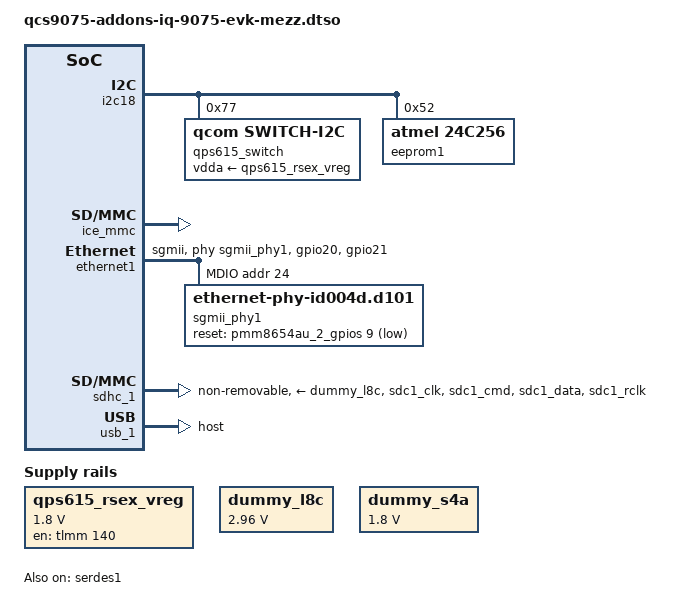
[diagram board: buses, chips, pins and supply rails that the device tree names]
// SPDX-License-Identifier: BSD-3-Clause
/*
 * Copyright (c) 2025 Qualcomm Innovation Center, Inc. All rights reserved.
 * Copyright (c) Qualcomm Technologies, Inc. and/or its subsidiaries.
 */

/dts-v1/;
/plugin/;

#include <dt-bindings/gpio/gpio.h>
#include <dt-bindings/interrupt-controller/irq.h>

&{/} {
	model = "Qualcomm Technologies, Inc. IQ-9075-evk Addons Mezzanine";
	qcom,board-id = <0x00010020 1>, <0x00010019 1>;

	qps615_rsex_vreg: qps615-rsex-vreg {
	        compatible = "regulator-fixed";
	        regulator-name = "qps615_rsex_vreg";
	        gpio = <&tlmm 140 GPIO_ACTIVE_HIGH>;
	        regulator-min-microvolt = <1800000>;
	        regulator-max-microvolt = <1800000>;
	        enable-active-high;
	        regulator-enable-ramp-delay = <10000>;
	};

	dummy_l8c: dummy-l8c {
		compatible = "regulator-fixed";
		regulator-name = "dummy-l8c";

		regulator-min-microvolt = <2960000>;
		regulator-max-microvolt = <2960000>;
	};

	dummy_s4a: dummy-s4a {
		compatible = "regulator-fixed";
		regulator-name = "dummy-s4a";

		regulator-min-microvolt = <1800000>;
		regulator-max-microvolt = <1800000>;
	};
};

&connector_usb1 {
	status = "disabled";
};

&i2c18 {
    qps615_switch: pcie-switch@77 {
        compatible = "qcom,switch-i2c";
        reg = <0x77>;
        vdda-supply = <&qps615_rsex_vreg>;

        status = "okay";
	};

	eeprom1: eeprom@52 {
		compatible = "atmel,24c256";
		reg = <0x52>;
		pagesize = <64>;
		#address-cells = <1>;
		#size-cells = <1>;

		nvmem-layout {
			compatible = "fixed-layout";
			#address-cells = <1>;
			#size-cells = <1>;

			mac_addr1: mac-addr@0 {
				reg = <0x0 0x6>;
			};

			mac_addr2: mac-addr@6 {
				reg = <0x6 0x6>;
			};

			mac_addr3: mac-addr@c {
				reg = <0xc 0x6>;
			};
		};
	};
};

&ice_mmc {
	status = "okay";
};

&pcie0 {
	dummy-supply = <&qps615_switch>;
	iommu-map = <0x0 &apps_smmu 0x0000 0x1>,
		<0x100 &pcie_smmu 0x0001 0x1>,
		<0x208 &pcie_smmu 0x0002 0x1>,
		<0x210 &pcie_smmu 0x0003 0x1>,
		<0x218 &pcie_smmu 0x0004 0x1>,
		<0x300 &pcie_smmu 0x0005 0x1>,
		<0x400 &pcie_smmu 0x0006 0x1>,
		<0x500 &pcie_smmu 0x0007 0x1>,
		<0x501 &pcie_smmu 0x0008 0x1>;

	pcieport0: pcie@0 {
		device_type = "pci";
		reg = <0x0 0x0 0x0 0x0 0x0>;
		#address-cells = <5>;
		#size-cells = <0>;

		wake-gpios = <&tlmm 0 GPIO_ACTIVE_HIGH>;

		/* BDF 1.0.0 */
		pcie0_bus1_dev0_fn0: pcie0_bus1_dev0_fn0 {
			reg = <0 0 0 0 0>;

			/* BDF 2.1.0 */
			pcie0_bus2_dev1_fn0: pcie0_bus2_dev1_fn0 {
				reg = <0x800 0x0 0x0 0x0 0x0>;

				/* BDF 3.0.0 */
				pcie0_bus3_dev0_fn0: pcie0_bus3_dev0_fn0 {
					reg = <0x0 0x0 0x0 0x0 0x0>;
				};
			};

			/* BDF 2.2.0 */
			pcie0_bus2_dev2_fn0: pcie0_bus2_dev2_fn0 {
				reg = <0x1000 0x0 0x0 0x0 0x0>;

				/* BDF 4.0.0 */
				pcie0_bus4_dev0_fn0: pcie0_bus4_dev0_fn0 {
					reg = <0x0 0x0 0x0 0x0 0x0>;
				};
			};

			/* BDF 2.3.0 */
			pcie0_bus2_dev3_fn0: pcie0_bus2_dev3_fn0 {
				reg = <0x1800 0x0 0x0 0x0 0x0>;
				qps615_eth0,qps615_eth0@pcie0_rp {
					reg = <0x0 0x0 0x0 0x0 0x0>;
				};

				/* BDF 5.0.0 */
				pcie0_bus5_dev0_fn0: pcie0_qps_eth0 {
					reg = <0x0 0x0 0x0 0x0 0x0>;
					nvmem-cells = <&mac_addr2>;
					nvmem-cell-names = "mac-address";
					pinctrl-names = "default";
					pinctrl-0 = <&aqr_intn_wol_sig>;
					phy-rst-som-gpios = <&tlmm 28 GPIO_ACTIVE_HIGH>;
					interrupts-extended = <&tlmm 56 IRQ_TYPE_EDGE_FALLING>;
					interrupt-names = "wol_irq";
					qcom,always-on-supply;
					qcom,phy-rst-delay-us = <221000>;
					#address-cells = <1>;
					#size-cells = <1>;

					qcom,iommu-group = <&eth0_pci_iommu_group>;
					eth0_pci_iommu_group: eth0_pci_iommu_group {
						qcom,iommu-dma = "atomic";
					};
				};

				qps615_eth1,qps615_eth1@pcie0_rp {
					reg = <0x100 0x0 0x0 0x0 0x0>;
				};

				/* BDF 5.0.1 */
				pcie0_bus5_dev0_fn1: pcie0_qps_eth1 {
					reg = <0x100 0x0 0x0 0x0 0x0>;
					nvmem-cells = <&mac_addr3>;
					nvmem-cell-names = "mac-address";
					pinctrl-names = "default";
					pinctrl-0 = <&napa_intn_wol_sig>;
					phy-rst-som-gpios = <&pmm8654au_3_gpios 8 GPIO_ACTIVE_HIGH>;
					interrupts-extended = <&tlmm 57 IRQ_TYPE_EDGE_FALLING>;
					interrupt-names = "wol_irq";
					qcom,always-on-supply;
					qcom,phy-rst-delay-us = <20000>;
					#address-cells = <1>;
					#size-cells = <1>;

					qcom,iommu-group = <&eth1_pci_iommu_group>;
					eth1_pci_iommu_group: eth1_pci_iommu_group {
						qcom,iommu-dma = "atomic";
					};
				};
			};
		};
	};
};

&ethernet1 {
	phy-handle = <&sgmii_phy1>;
	phy-mode = "sgmii";

	pinctrl-0 = <&ethernet1_default>;
	pinctrl-names = "default";

	snps,mtl-rx-config = <&mtl_rx_setup1>;
	snps,mtl-tx-config = <&mtl_tx_setup1>;
	snps,ps-speed = <1000>;
	nvmem-cells = <&mac_addr1>;
	nvmem-cell-names = "mac-address";

	status = "okay";

	mdio1 {
		compatible = "snps,dwmac-mdio";
		#address-cells = <1>;
		#size-cells = <0>;

		sgmii_phy1: phy@18 {
			compatible = "ethernet-phy-id004d.d101";
			reg = <0x18>;
			device_type = "ethernet-phy";
			reset-gpios = <&pmm8654au_2_gpios 9 GPIO_ACTIVE_LOW>;
			reset-assert-us = <11000>;
			reset-deassert-us = <70000>;
		};
	};

	mtl_rx_setup1: rx-queues-config {
		snps,rx-queues-to-use = <4>;
		snps,rx-sched-sp;

		queue0 {
			snps,dcb-algorithm;
			snps,map-to-dma-channel = <0x0>;
			snps,route-up;
			snps,priority = <0x1>;
		};

		queue1 {
			snps,dcb-algorithm;
			snps,map-to-dma-channel = <0x1>;
			snps,route-ptp;
		};

		queue2 {
			snps,avb-algorithm;
			snps,map-to-dma-channel = <0x2>;
			snps,route-avcp;
		};

		queue3 {
			snps,avb-algorithm;
			snps,map-to-dma-channel = <0x3>;
			snps,priority = <0xc>;
		};
	};

	mtl_tx_setup1: tx-queues-config {
		snps,tx-queues-to-use = <4>;
		snps,tx-sched-sp;

		queue0 {
			snps,dcb-algorithm;
		};

		queue1 {
			snps,dcb-algorithm;
		};

		queue2 {
			snps,avb-algorithm;
			snps,send_slope = <0x1000>;
			snps,idle_slope = <0x1000>;
			snps,high_credit = <0x3e800>;
			snps,low_credit = <0xffc18000>;
		};

		queue3 {
			snps,avb-algorithm;
			snps,send_slope = <0x1000>;
			snps,idle_slope = <0x1000>;
			snps,high_credit = <0x3e800>;
			snps,low_credit = <0xffc18000>;
		};
	};
};

&sdhc_1 {
	vmmc-supply = <&dummy_l8c>;
	vqmmc-supply = <&dummy_s4a>;

	no-sd;
	no-sdio;

	non-removable;

	pinctrl-names = "default", "sleep";
	pinctrl-0 = <&sdc1_clk>, <&sdc1_cmd>, <&sdc1_data>, <&sdc1_rclk>;
	pinctrl-1 = <&sdc1_clk_sleep>, <&sdc1_cmd_sleep>, <&sdc1_data_sleep>, <&sdc1_rclk_sleep>;
	status = "okay";
};

&sdhc_2 {
	status = "disabled";
};

&serdes1 {
	phy-supply = <&vreg_l5a>;
	status = "okay";
};

&tlmm {
	ethernet1_default: ethernet1-default-state {
		ethernet1_mdc: ethernet1-mdc-pins {
			pins = "gpio20";
			function = "emac1_mdc";
			drive-strength = <16>;
			bias-pull-up;
		};

		ethernet1_mdio: ethernet1-mdio-pins {
			pins = "gpio21";
			function = "emac1_mdio";
			drive-strength = <16>;
			bias-pull-up;
		};
	};

	qps615_intn_wol {
		aqr_intn_wol_sig: aqr-intn-wol-sig {
				pins = "gpio56";
				function = "gpio";
				input-enable;
				bias-disable;
		};

		napa_intn_wol_sig: napa-intn-wol-sig {
				pins = "gpio57";
				function = "gpio";
				input-enable;
				bias-disable;
		};
	};

	sdc1_clk: sdc1-clk-state {
		pins = "sdc1_clk";
		bias-disable;
		drive-strength = <16>;
	};

	sdc1_cmd: sdc1-cmd-state {
		pins = "sdc1_cmd";
		bias-pull-up;
		drive-strength = <10>;
	};

	sdc1_data: sdc1-data-state {
		pins = "sdc1_data";
		bias-pull-up;
		drive-strength = <10>;
	};

	sdc1_rclk: sdc1-rclk-state {
		pins = "sdc1_rclk";
		bias-pull-down;
	};

	sdc1_clk_sleep: sdc1-clk-sleep-state {
		pins = "sdc1_clk";
		drive-strength = <2>;
		bias-bus-hold;
	};

	sdc1_cmd_sleep: sdc1-cmd-sleep-state {
		pins = "sdc1_cmd";
		drive-strength = <2>;
		bias-bus-hold;
	};

	sdc1_data_sleep: sdc1-data-sleep-state {
		pins = "sdc1_data";
		drive-strength = <2>;
		bias-bus-hold;
	};

	sdc1_rclk_sleep: sdc1-rclk-sleep-state {
		pins = "sdc1_rclk";
		drive-strength = <2>;
		bias-bus-hold;
	};

};

&usb1_id_det_default {
	status = "disabled";
};

&usb_1 {
	dr_mode = "host";
	vbus_dwc3-supply = <&vbus_supply_regulator_1>;

	ports {
		status = "disabled";
	};
};
